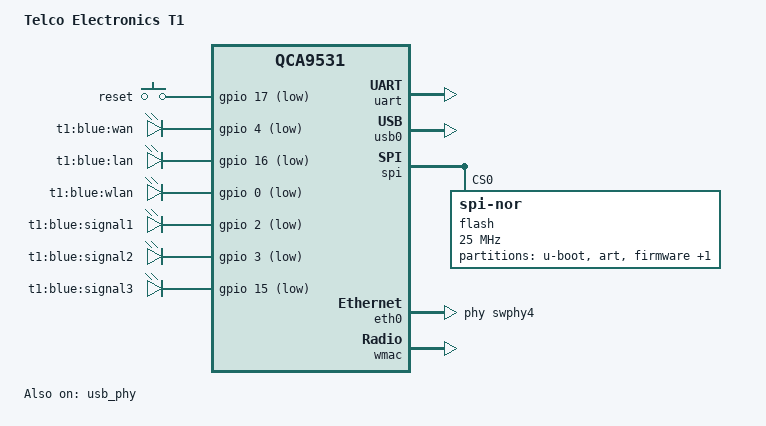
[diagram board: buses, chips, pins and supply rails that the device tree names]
// SPDX-License-Identifier: GPL-2.0-or-later OR MIT
/dts-v1/;

#include <dt-bindings/gpio/gpio.h>
#include <dt-bindings/input/input.h>

#include "qca953x.dtsi"

/ {
	compatible = "telco-electronics,t1", "qca,qca9531";
	model = "Telco Electronics T1";
	
	aliases {
		led-boot = &system_led;
		led-failsafe = &system_led;
		led-upgrade = &system_led;
	};
	
	keys {
		compatible = "gpio-keys";
		poll-interval = <20>;

		reset {
			label = "reset";
			linux,code = <KEY_RESTART>;
			gpios = <&gpio 17 GPIO_ACTIVE_LOW>;
		};
	};
	
	leds {
		compatible = "gpio-leds";
		pinctrl-names = "default";
		pinctrl-0 = <&jtag_disable_pins &led_wan_pin>;

		wan {
			label = "t1:blue:wan";
			gpios = <&gpio 4 GPIO_ACTIVE_LOW>;
		};

		lan {
			label = "t1:blue:lan";
			gpios = <&gpio 16 GPIO_ACTIVE_LOW>;
		};

		wlan {
			label = "t1:blue:wlan";
			gpios = <&gpio 0 GPIO_ACTIVE_LOW>;
			linux,default-trigger = "phy0tpt";
		};

		system_led: signal1 {
			label = "t1:blue:signal1";
			gpios = <&gpio 2 GPIO_ACTIVE_LOW>;
		};

		signal2 {
			label = "t1:blue:signal2";
			gpios = <&gpio 3 GPIO_ACTIVE_LOW>;
		};

		signal3 {
			label = "t1:blue:signal3";
			gpios = <&gpio 15 GPIO_ACTIVE_LOW>;
		};
	};
};

&uart {
	status = "okay";
};

&usb0 {
	#address-cells = <1>;
	#size-cells = <0>;
	status = "okay";

	hub_port: port@1 {
		reg = <1>;
		#trigger-source-cells = <0>;
	};
};

&usb_phy {
	status = "okay";
};

&spi {
	status = "okay";
	num-cs = <1>;

	flash@0 {
		compatible = "jedec,spi-nor";
		reg = <0>;
		spi-max-frequency = <25000000>;

		partitions {
			compatible = "fixed-partitions";
			#address-cells = <1>;
			#size-cells = <1>;

			partition@0 {
				label = "u-boot";
				reg = <0x000000 0x010000>;
				read-only;
			};

			art: partition@10000 {
				label = "art";
				reg = <0x010000 0x010000>;
				read-only;
			};

			partition@20000 {
				compatible = "denx,uimage";
				label = "firmware";
				reg = <0x020000 0xfd0000>;
			};

			partition@ff0000 {
				label = "art-backup";
				reg = <0xff0000 0x010000>;
				read-only;
			};
		};
	};
};

&eth0 {
	status = "okay";
	mtd-mac-address = <&art 0x0>;
	phy-handle = <&swphy4>;
};

&eth1 {
	mtd-mac-address = <&art 0x6>;
};

&wmac {
	status = "okay";
	mtd-cal-data = <&art 0x1000>;
};

&pinmux {
	led_wan_pin: pinmux_led_wan_pin {
		pinctrl-single,bits = <0x4 0x0 0xff>;
	};
};
